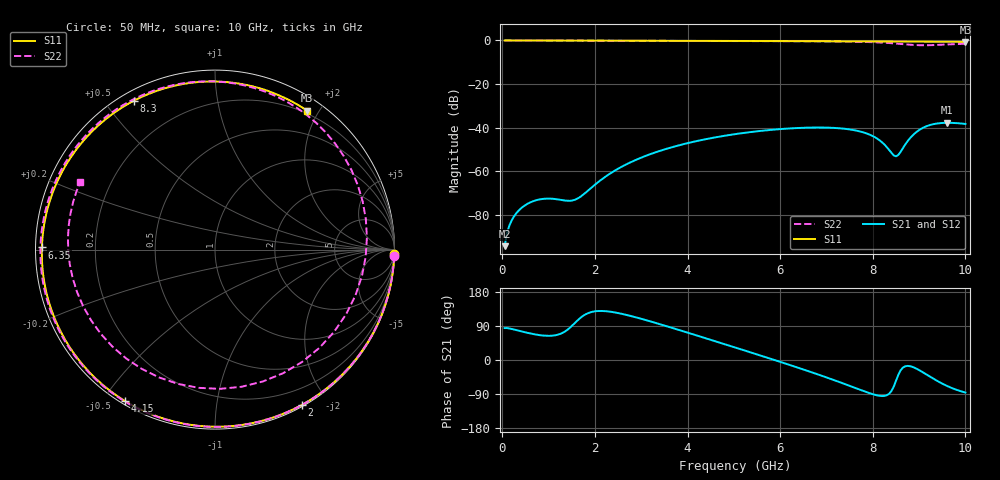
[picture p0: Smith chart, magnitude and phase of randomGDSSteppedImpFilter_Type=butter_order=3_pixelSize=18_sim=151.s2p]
! freq	dB(S11)	phase(S11)	dB(S12)	phase(S12)
!  dB(S21)	phase(S21)	dB(S22)	phase(S22)
!S-par simulation data
#  GHz  S  DB  R 50
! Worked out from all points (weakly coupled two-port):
!   200 points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, 50 MHz to 10 GHz, reference 50 ohm
!   highest |S21| = -37.80 dB at 9.6 GHz (marker M1); lowest = -94.4 dB at 50 MHz (marker M2)
!   lowest |S11| = -0.6 dB at 10 GHz (marker M3), VSWR 26.95, Z = 8.24 + j92.5 ohm
!   |S11| at or under -10 dB: nowhere
!   |S22| runs from -2.2 to 0.0 dB; largest |S21 - S12| = 0
!   S11 on the Smith chart (normalised r, x): 50 MHz: 1, -75; 2 GHz: 0.02, -1.70; 4.15 GHz: 0.01, -0.57; 6.35 GHz: 0.02, +0.01; 8.3 GHz: 0.04, +0.59; 10 GHz: 0.16, +1.85
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0.05  -0.00 -1.5  -94.44 84.3  -94.44 84.3  -0.01 -2.0
0.25  -0.01 -7.8  -80.88 80.5  -80.88 80.5  -0.02 -10.2
0.75  -0.03 -23.3  -73.25 66.7  -73.25 66.7  -0.04 -30.4
1.5  -0.06 -46.1  -73.52 89.6  -73.52 89.6  -0.07 -59.4
1.75  -0.07 -53.5  -70.73 116.9  -70.73 116.9  -0.08 -68.6
2  -0.08 -60.9  -66.23 128.4  -66.23 128.4  -0.09 -77.5
2.6  -0.10 -78.1  -57.73 121.3  -57.73 121.3  -0.11 -98.0
3.4  -0.13 -100.4  -50.71 94.6  -50.71 94.6  -0.14 -123.4
4.15  -0.16 -120.8  -46.41 66.6  -46.41 66.6  -0.18 -145.9
5.05  -0.21 -144.9  -42.93 32.2  -42.93 32.2  -0.22 -172.3
6.35  -0.31 179.3  -40.22 -18.8  -40.22 -18.8  -0.33 146.3
6.7  -0.34 169.2  -39.98 -33.2  -39.98 -33.2  -0.37 133.2
7.7  -0.44 138.5  -41.65 -77.3  -41.65 -77.3  -0.61 83.1
8  -0.47 128.7  -43.90 -90.2  -43.90 -90.2  -0.80 60.3
8.3  -0.50 118.5  -48.92 -93.2  -48.92 -93.2  -1.11 30.3
8.35  -0.50 116.8  -50.21 -89.4  -50.21 -89.4  -1.18 24.4
8.5  -0.51 111.6  -53.20 -55.5  -53.20 -55.5  -1.42 4.6
8.65  -0.53 106.3  -49.47 -20.2  -49.47 -20.2  -1.69 -18.1
9  -0.56 93.8  -41.15 -26.6  -41.15 -26.6  -2.18 -79.1
9.3  -0.59 82.7  -38.46 -48.7  -38.46 -48.7  -2.13 -129.3
9.6  -0.61 71.5  -37.80 -68.2  -37.80 -68.2  -1.84 -168.8
10  -0.64 56.5  -38.32 -85.9  -38.32 -85.9  -1.51 153.2
